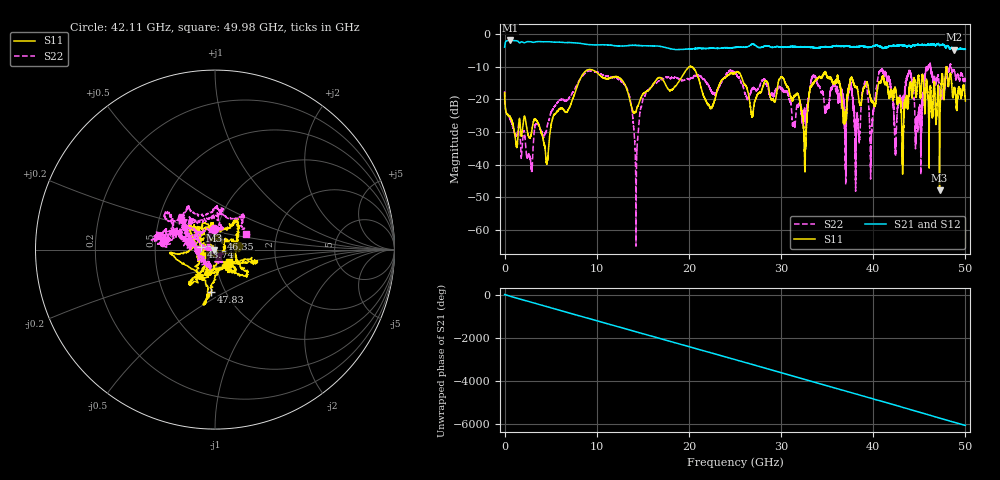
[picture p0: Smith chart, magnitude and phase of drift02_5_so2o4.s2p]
!Created with skrf (http://scikit-rf.org).
# Hz S RI R 50.0
!freq ReS11 ImS11 ReS21 ImS21 ReS12 ImS12 ReS22 ImS22
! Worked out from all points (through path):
!   10001 points, 300 kHz to 50 GHz, reference 50 ohm
!   highest |S21| = -1.99 dB at 595.3 MHz (marker M1); lowest = -4.9 dB at 48.77 GHz (marker M2)
!   group delay of S21, straight-line fit = 337 ps
!   lowest |S11| = -47.9 dB at 47.2 GHz (marker M3), VSWR 1.01, Z = 49.6 - j0.169 ohm
!   |S11| at or under -10 dB: start of sweep to 20.06 GHz; 20.20933 GHz to 20.21518 GHz (5.854 MHz wide, 0.029 % of centre); 20.24 GHz to end of sweep (the widest 3 of 5)
!   |S22| runs from -65.0 to -8.9 dB; largest |S21 - S12| = 0.032
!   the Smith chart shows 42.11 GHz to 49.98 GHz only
!   S11 on the Smith chart (normalised r, x): 42.11 GHz: 1.14, -0.18; 43.74 GHz: 0.85, +0.02; 46.35 GHz: 1.06, +0.13; 47.83 GHz: 0.86, -0.43; 49.98 GHz: 1.16, -0.16
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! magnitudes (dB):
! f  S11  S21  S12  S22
! 300 kHz  -18.0  -4.1  -4.0  -17.6
! 595.3 MHz  -25.4  -2.0  -2.0  -26.1
! 4.565 GHz  -39.7  -2.4  -2.4  -29.3
! 8.335 GHz  -13.0  -2.9  -2.9  -13.2
! 13.03 GHz  -15.4  -3.7  -3.7  -15.6
! 14.28 GHz  -23.7  -3.5  -3.5  -47.4
! 16.67 GHz  -13.4  -3.7  -3.7  -14.5
! 25 GHz  -12.0  -4.1  -4.1  -12.0
! 30.16 GHz  -13.3  -4.1  -4.1  -16.9
! 32.56 GHz  -40.5  -3.9  -4.0  -24.6
! 33.34 GHz  -15.7  -4.0  -4.1  -13.4
! 38.28 GHz  -17.0  -4.0  -4.0  -25.0
! 41.67 GHz  -18.6  -3.8  -3.9  -12.9
! 42.11 GHz  -19.5  -3.6  -3.7  -18.8
! 43.74 GHz  -21.9  -3.7  -3.7  -12.5
! 44.99 GHz  -14.6  -3.5  -3.4  -22.1
! 46.35 GHz  -23.2  -3.2  -3.2  -12.0
! 47.2 GHz  -47.9  -3.5  -3.5  -17.2
! 47.83 GHz  -12.5  -4.0  -4.0  -14.1
! 48.77 GHz  -16.8  -4.9  -4.8  -11.0
! 49.98 GHz  -19.8  -4.6  -4.6  -14.2
! 50 GHz  -20.5  -4.7  -4.6  -14.6
